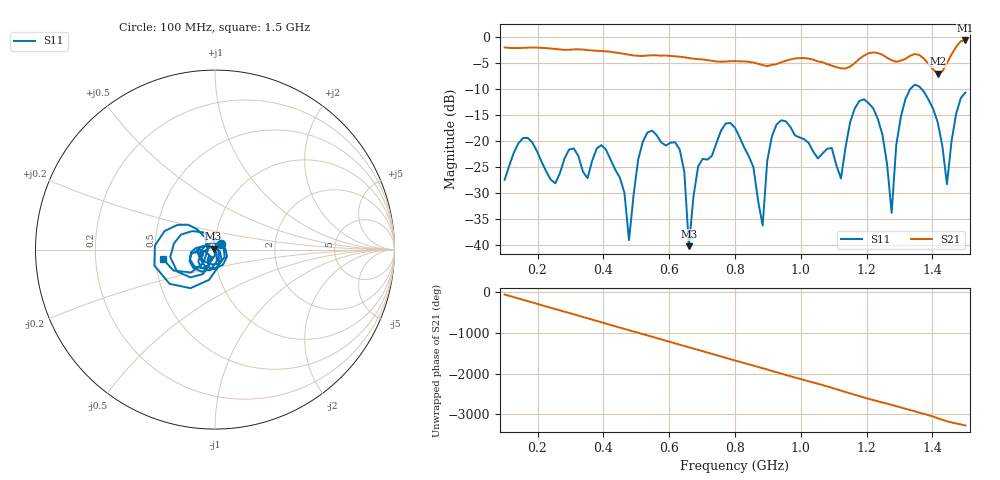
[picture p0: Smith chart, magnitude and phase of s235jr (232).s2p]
! NanoVNA-App
! Date: 2025-09-25 15:05:58
! Start: 100MHz Stop: 1,5GHz Points: 101
! S-Parameter data: F S11 S21 S12 S22
# Hz S RI R 50
!  Frequency  S11_Real  S11_Imag  S21_Real  S21_Imag  S12_Real  S12_Imag  S22_Real  S22_Imag
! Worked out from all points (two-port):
!   101 points, 100 MHz to 1.5 GHz, reference 50 ohm
!   highest |S21| = -0.61 dB at 1.5 GHz (marker M1); lowest = -7.0 dB at 1.416 GHz (marker M2)
!   |S21| within 3 dB of the highest: start of sweep to 605.8 MHz; 1.19 GHz to 1.254 GHz (63.75 MHz wide, 5.22 % of centre) (the widest 2 of 4)
!   lowest |S11| = -40.2 dB at 660 MHz (marker M3), VSWR 1.02, Z = 49.2 + j0.532 ohm
!   |S11| at or under -10 dB: start of sweep to 1.332 GHz; 1.367 GHz to end of sweep
!   S12 and S22 are empty: the file has one direction only
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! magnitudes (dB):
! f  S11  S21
! 100 MHz  -27.5  -2.0
! 156 MHz  -19.4  -2.0
! 338 MHz  -25.9  -2.4
! 408 MHz  -21.7  -2.7
! 478 MHz  -39.1  -3.4
! 520 MHz  -20.1  -3.6
! 576 MHz  -20.3  -3.5
! 632 MHz  -21.6  -3.7
! 660 MHz  -40.2  -4.0
! 688 MHz  -24.9  -4.2
! 800 MHz  -17.4  -4.6
! 884 MHz  -36.3  -5.4
! 926 MHz  -16.8  -5.2
! 1.038 GHz  -22.1  -4.3
! 1.122 GHz  -27.2  -6.0
! 1.192 GHz  -11.9  -3.5
! 1.248 GHz  -18.8  -3.4
! 1.276 GHz  -33.8  -4.4
! 1.332 GHz  -10.0  -3.6
! 1.416 GHz  -16.4  -7.0
! 1.444 GHz  -28.3  -5.0
! 1.5 GHz  -10.6  -0.6
